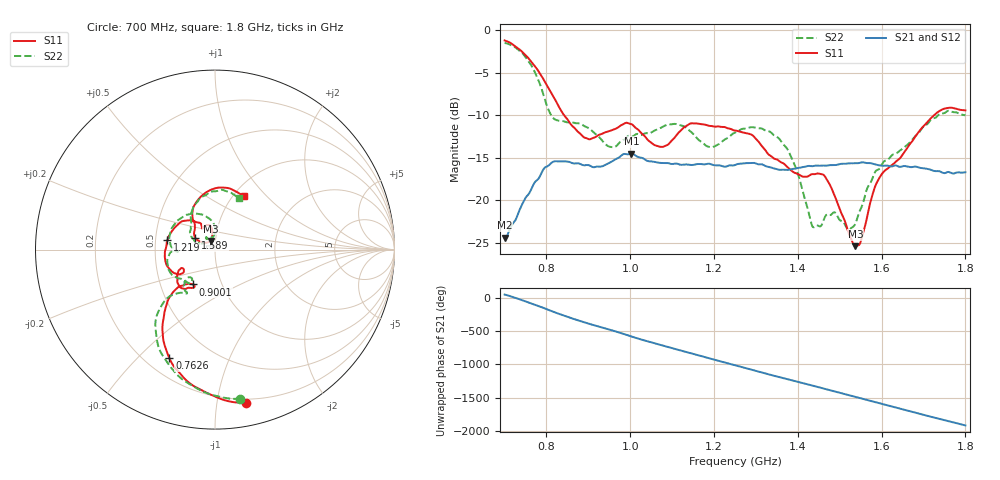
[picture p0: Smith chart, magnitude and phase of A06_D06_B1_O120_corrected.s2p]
! Created with skrf 1.9.0 (http://scikit-rf.org).
# Hz S RI R 50.0
!freq ReS11 ImS11 ReS21 ImS21 ReS12 ImS12 ReS22 ImS22
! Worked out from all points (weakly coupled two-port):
!   1601 points, 700 MHz to 1.8 GHz, reference 50 ohm
!   highest |S21| = -14.50 dB at 1.002 GHz (marker M1); lowest = -24.4 dB at 700 MHz (marker M2)
!   lowest |S11| = -25.4 dB at 1.537 GHz (marker M3), VSWR 1.11, Z = 47.5 + j4.6 ohm
!   |S11| at or under -10 dB: 842.1 MHz to 1.725 GHz (883 MHz wide, 68.8 % of centre)
!   |S22| runs from -23.5 to -1.5 dB; largest |S21 - S12| = 0.0035
!   S11 on the Smith chart (normalised r, x): 700 MHz: 0.17, -1.21; 762.6 MHz: 0.29, -0.63; 900.1 MHz: 0.73, -0.30; 1.219 GHz: 0.58, +0.07; 1.589 GHz: 0.80, +0.11; 1.8 GHz: 1.12, +0.75
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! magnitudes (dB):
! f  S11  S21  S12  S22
! 700 MHz  -1.2  -24.4  -24.2  -1.5
! 762.6 MHz  -3.6  -18.8  -18.8  -4.0
! 815.5 MHz  -7.7  -15.5  -15.6  -10.3
! 883.6 MHz  -12.3  -15.8  -15.7  -11.1
! 900.1 MHz  -12.8  -15.9  -15.9  -11.5
! 953.7 MHz  -11.8  -15.5  -15.5  -13.7
! 1.002 GHz  -11.0  -14.5  -14.6  -12.5
! 1.067 GHz  -13.6  -15.6  -15.5  -11.6
! 1.143 GHz  -11.0  -15.8  -15.8  -11.9
! 1.186 GHz  -11.2  -15.7  -15.8  -13.7
! 1.219 GHz  -11.4  -16.0  -16.0  -13.1
! 1.25 GHz  -11.8  -15.8  -15.8  -12.0
! 1.357 GHz  -15.4  -16.4  -16.4  -12.9
! 1.395 GHz  -16.8  -16.3  -16.2  -16.2
! 1.434 GHz  -16.9  -16.0  -15.9  -22.9
! 1.469 GHz  -17.6  -15.9  -15.9  -21.7
! 1.537 GHz  -25.4  -15.6  -15.6  -22.8
! 1.551 GHz  -24.7  -15.6  -15.6  -20.9
! 1.589 GHz  -17.9  -15.8  -15.8  -16.4
! 1.617 GHz  -16.2  -16.0  -15.9  -15.1
! 1.733 GHz  -9.6  -16.6  -16.6  -10.1
! 1.8 GHz  -9.4  -16.7  -16.7  -10.0
